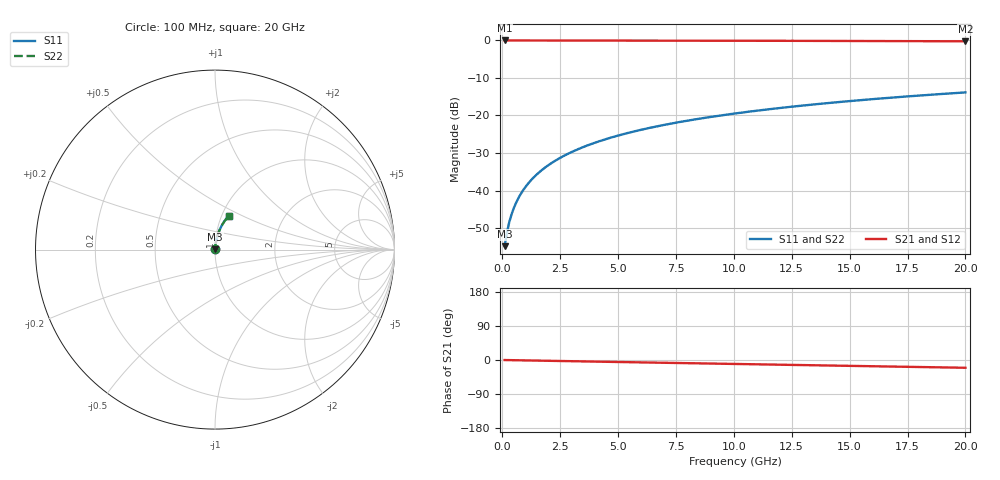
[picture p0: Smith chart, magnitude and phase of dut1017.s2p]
! Touchstone file exported from HFSS 2026.1.0
!  File:  C:/ffzhzh/LocalFiles/Ansys_Project_Files/temp_train_BSMRDL_1017_1783173378_22436.aedt
!  Generated:  09:57:34 PM Jul  4, 2026
!  Design:  BSMRDL
!  Project:  temp_train_BSMRDL_1017_1783173378_22436
! Variables:
!  h_bsmrdl = 3.39um
!  h_ox = 20um
!  h_rdl = 5um
!  h_sub = 80um
!  h_tmrdl = 5um
!  h_tsv = 80um
!  h_via = 3um
!  l_bsmrdl = 261.08um
!  l_sub = 661.08um
!  l_tmrdl = 200um
!  m_sub = 200um
!  pitch = 50.48um
!  r_tsv = 6um
!  s_tmrdl = 10um
!  w_bsmrdl = 24.12um
!  w_sub = 500um
!  w_tmrdl = 12um
!  x_tsv_center1 = 206um
!  x_tsv_center2 = 491.2um
!  x_tsv_center3 = 703.2um
!  x_tsv_center4 = 988.4um
!  x_tsv_center5 = 1200.4um
!  x_tsv_center6 = 1485.6um
# GHz S MA R 50.000000
! Terminal data exported
! Port[1] = BSM_RDL1_1_T1
! Port[2] = BSM_RDL1_1_T2
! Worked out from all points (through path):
!   200 points, 100 MHz to 20 GHz, reference 50 ohm
!   highest |S21| = -0.01 dB at 100 MHz (marker M1); lowest = -0.2 dB at 20 GHz (marker M2)
!   group delay of S21, straight-line fit = 2.84 ps
!   lowest |S11| = -54.8 dB at 100 MHz (marker M3), VSWR 1.00, Z = 50.1 + j0.119 ohm
!   |S11| at or under -10 dB: start of sweep to end of sweep
!   |S22| runs from -54.8 to -13.9 dB; largest |S21 - S12| = 3.4e-15
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0.1  0.001818 40.9  0.9986 -0.1  0.9986 -0.1  0.001818 40.9
! Gamma 0 0 0 0
! Port Impedance 50 0 50 0
0.2  0.002757 58.4  0.9986 -0.2  0.9986 -0.2  0.002757 58.4
0.3  0.003788 66.2  0.9985 -0.3  0.9985 -0.3  0.003788 66.2
0.4  0.004833 70.6  0.9984 -0.4  0.9984 -0.4  0.004833 70.6
0.5  0.00588 73.5  0.9984 -0.5  0.9984 -0.5  0.00588 73.5
0.6  0.00693 75.5  0.9983 -0.6  0.9983 -0.6  0.00693 75.5
0.8  0.009043 78.2  0.9983 -0.9  0.9983 -0.9  0.009042 78.2
1.1  0.01224 80.5  0.9982 -1.2  0.9982 -1.2  0.01224 80.5
1.5  0.01653 82.1  0.998 -1.6  0.998 -1.6  0.01653 82.1
1.8  0.01976 82.6  0.9979 -1.9  0.9979 -1.9  0.01976 82.6
2.1  0.02299 83.0  0.9978 -2.2  0.9978 -2.2  0.02299 83.0
2.7  0.02945 83.2  0.9975 -2.9  0.9975 -2.9  0.02945 83.2
3.5  0.03804 83.0  0.9971 -3.7  0.9971 -3.7  0.03804 83.0
4.2  0.04552 82.6  0.9966 -4.4  0.9966 -4.4  0.04552 82.6
5  0.05402 82.0  0.996 -5.3  0.996 -5.3  0.05402 82.0
5.9  0.06351 81.2  0.9952 -6.2  0.9952 -6.2  0.06351 81.3
6.8  0.07294 80.4  0.9943 -7.1  0.9943 -7.1  0.07294 80.4
8.3  0.08848 79.1  0.9926 -8.7  0.9926 -8.7  0.08848 79.1
10.1  0.1069 77.4  0.9904 -10.5  0.9904 -10.5  0.1069 77.4
13.4  0.1399 74.2  0.9856 -13.9  0.9856 -13.9  0.1399 74.2
16.7  0.1719 71.1  0.9799 -17.2  0.9799 -17.2  0.1719 71.1
20  0.203 67.9  0.9736 -20.5  0.9736 -20.5  0.203 67.9
